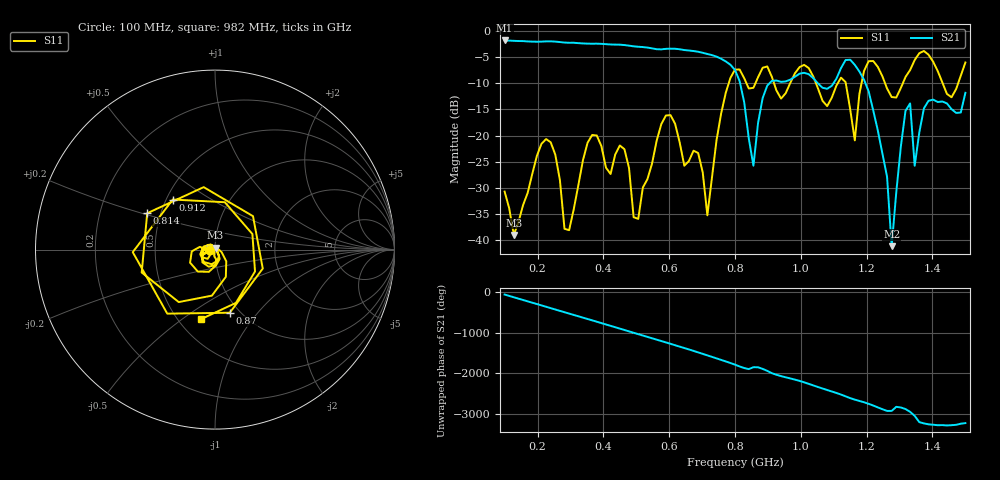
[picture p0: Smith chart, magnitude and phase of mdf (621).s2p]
! NanoVNA-App
! Date: 2025-09-25 15:43:15
! Start: 100MHz Stop: 1,5GHz Points: 101
! S-Parameter data: F S11 S21 S12 S22
# Hz S RI R 50
!  Frequency  S11_Real  S11_Imag  S21_Real  S21_Imag  S12_Real  S12_Imag  S22_Real  S22_Imag
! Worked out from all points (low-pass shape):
!   101 points, 100 MHz to 1.5 GHz, reference 50 ohm
!   highest |S21| = -1.80 dB at 100 MHz (marker M1); lowest = -41.2 dB at 1.276 GHz (marker M2)
!   |S21| within 3 dB of the highest: start of sweep to 739.5 MHz
!   lowest |S11| = -39.0 dB at 128 MHz (marker M3), VSWR 1.02, Z = 50.3 + j1.08 ohm
!   |S11| at or under -10 dB: start of sweep to 781 MHz; 1.046 GHz to 1.112 GHz (66.16 MHz wide, 6.13 % of centre); 1.256 GHz to 1.31 GHz (53.97 MHz wide, 4.21 % of centre) (the widest 3 of 7)
!   S12 and S22 are empty: the file has one direction only
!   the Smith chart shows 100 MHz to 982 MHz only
!   S11 on the Smith chart (normalised r, x): 100 MHz: 0.94, -0.01; 814 MHz: 0.42, +0.21; 870 MHz: 0.90, -0.73; 912 MHz: 0.54, +0.35; 982 MHz: 0.65, -0.59
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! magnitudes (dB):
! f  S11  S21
! 100 MHz  -30.7  -1.8
! 128 MHz  -39.0  -1.9
! 212 MHz  -21.6  -2.0
! 282 MHz  -37.8  -2.2
! 338 MHz  -24.7  -2.4
! 464 MHz  -22.6  -2.7
! 506 MHz  -35.9  -3.0
! 576 MHz  -17.8  -3.5
! 716 MHz  -35.3  -4.4
! 800 MHz  -7.4  -7.4
! 814 MHz  -7.4  -9.6
! 856 MHz  -10.9  -25.8
! 870 MHz  -8.8  -17.6
! 912 MHz  -8.8  -9.5
! 982 MHz  -8.1  -8.8
! 1.038 GHz  -8.7  -9.0
! 1.164 GHz  -20.9  -6.5
! 1.192 GHz  -7.6  -9.3
! 1.276 GHz  -12.6  -41.2
! 1.318 GHz  -8.8  -15.3
! 1.346 GHz  -5.5  -25.8
! 1.5 GHz  -6.0  -11.8
